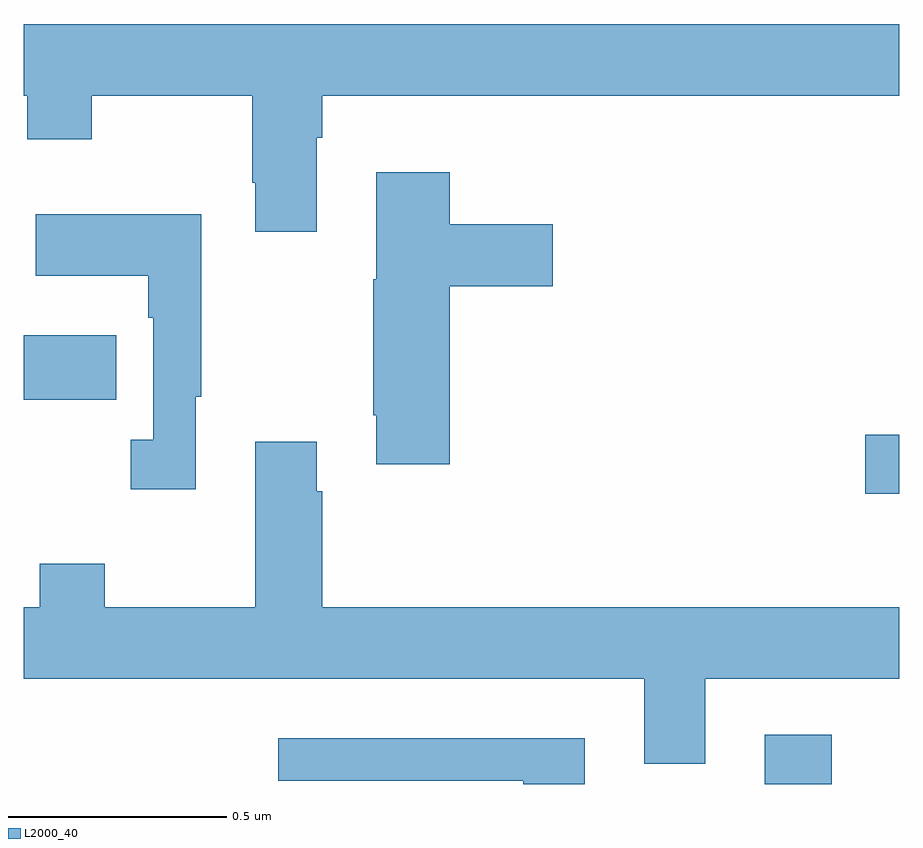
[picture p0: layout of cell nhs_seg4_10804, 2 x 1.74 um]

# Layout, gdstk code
import gdstk
lib = gdstk.Library(unit=1e-6, precision=1e-09)
def R(c, l, rs):  # rectangles x0, y0, x1, y1
    for r in rs: c.add(gdstk.rectangle(r[:2], r[2:], *l))
def P(c, l, *ps):  # polygons
    for p in ps: c.add(gdstk.Polygon(p, *l))
L2000_40 = (2000, 40)

nhs_seg4_10804 = lib.new_cell('nhs_seg4_10804')
R(nhs_seg4_10804, L2000_40, [(245.693,809.9,245.846,810.013), (245.922,810.563,246,810.698), (244,810.778,244.211,810.925)])
P(nhs_seg4_10804, L2000_40, [(244.669,811.376),(244.682,811.376),(244.682,811.472),(246,811.472),(246,811.636),(244,811.636),(244,811.472),(244.008,811.472),(244.008,811.373),(244.155,811.373),(244.155,811.472),(244.522,811.472),(244.522,811.273),(244.529,811.273),(244.529,811.161),(244.669,811.161)],
  [(244.973,811.037),(245.209,811.037),(245.209,811.179),(244.973,811.179),(244.973,811.297),(244.805,811.297),(244.805,811.053),(244.798,811.053),(244.798,810.742),(244.805,810.742),(244.805,810.63),(244.973,810.63)],
  [(244.393,810.785),(244.405,810.785),(244.405,811.201),(244.027,811.201),(244.027,811.061),(244.284,811.061),(244.284,810.965),(244.296,810.965),(244.296,810.686),(244.245,810.686),(244.245,810.573),(244.393,810.573)],
  [(245.557,810.14),(246,810.14),(246,810.304),(244.682,810.304),(244.682,810.569),(244.669,810.569),(244.669,810.682),(244.529,810.682),(244.529,810.304),(244.185,810.304),(244.185,810.403),(244.037,810.403),(244.037,810.304),(244,810.304),(244,810.14),(245.417,810.14),(245.417,809.946),(245.557,809.946)],
  [(245.281,810.004),(244.581,810.004),(244.581,809.907),(245.141,809.907),(245.141,809.9),(245.281,809.9)])

lib.write_gds('nhs_seg4_10804.gds')
